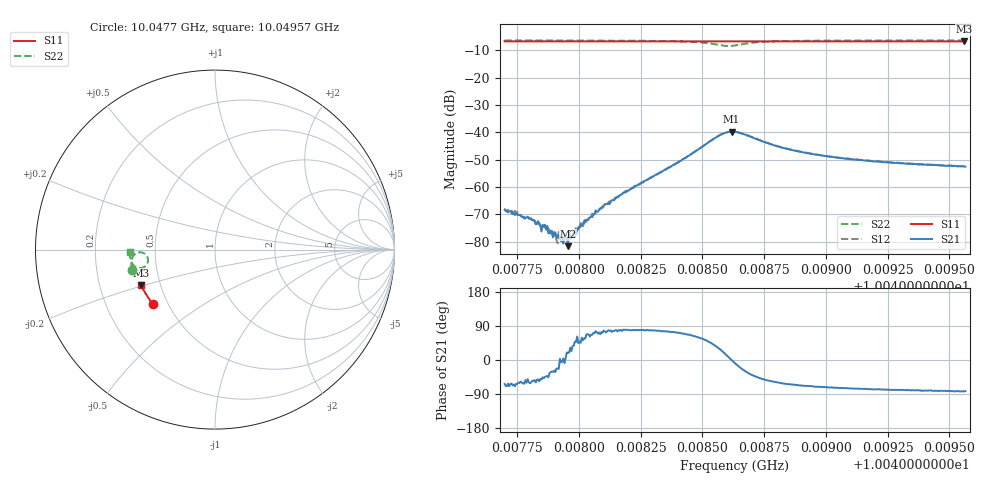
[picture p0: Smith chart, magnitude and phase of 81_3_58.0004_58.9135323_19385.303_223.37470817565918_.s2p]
#  HZ  S  RI  R  50.00
! Rohde & Schwarz Vector Network Analyzer
! Rohde-Schwarz,ZNB20-2Port,1311601062101988,3.16
! Created: UTC 3/21/2024, 12:53:55 AM
! freq[Hz]  re:S11  im:S11  re:S21  im:S21  re:S12  im:S12  re:S22  im:S22
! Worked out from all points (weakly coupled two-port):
!   401 points, 10.0477 GHz to 10.04957 GHz, reference 50 ohm
!   highest |S21| = -39.80 dB at 10.04862 GHz (marker M1); lowest = -81.7 dB at 10.04796 GHz (marker M2)
!   lowest |S11| = -6.8 dB at 10.04956 GHz (marker M3), VSWR 2.68, Z = 19.5 - j9.71 ohm
!   |S11| at or under -10 dB: nowhere
!   |S22| runs from -8.5 to -6.4 dB; largest |S21 - S12| = 0.0007
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1.0047699e10  -0.3472 -0.3015  0.000172 -0.00034  0.000178 -0.000359  -0.4626 -0.1127
1.0047806e10  -0.3516 -0.296  0.000136 -0.000228  0.000145 -0.000221  -0.4638 -0.1045
1.0047839e10  -0.353 -0.2942  0.000122 -0.000183  0.000149 -0.000144  -0.4642 -0.1019
1.0047862e10  -0.3539 -0.293  0.000144 -0.000143  0.00014 -0.000115  -0.4645 -0.1
1.0047885e10  -0.3549 -0.2916  0.000136 -8.46e-05  0.000106 -9.21e-05  -0.4649 -0.0981
1.0047904e10  -0.3557 -0.2908  0.000124 -7.71e-05  0.000129 -2.94e-05  -0.465 -0.0967
1.0047927e10  -0.3566 -0.2895  0.000123 -1.24e-05  9.11e-05 -3.47e-05  -0.4653 -0.0947
1.0047937e10  -0.3569 -0.2889  9.17e-05 6.71e-06  0.000102 1.59e-05  -0.4655 -0.0939
1.0047955e10  -0.3577 -0.2881  7.81e-05 2.61e-05  8.77e-05 7.11e-05  -0.4657 -0.0922
1.0047965e10  -0.3581 -0.2874  9.96e-05 6.31e-05  9.02e-05 8.12e-05  -0.4657 -0.0916
1.0047979e10  -0.3588 -0.2867  0.000117 9.11e-05  0.000105 9.34e-05  -0.4658 -0.0903
1.0048011e10  -0.3601 -0.285  0.000105 0.000175  0.000115 0.000167  -0.466 -0.0876
1.0048109e10  -0.3639 -0.2798  0.000142 0.000455  9.93e-05 0.000477  -0.4666 -0.0784
1.0048324e10  -0.3721 -0.2681  0.000404 0.00174  0.000344 0.00176  -0.4638 -0.0527
1.0048562e10  -0.3801 -0.2544  0.00705 0.00457  0.00678 0.00498  -0.3969 -0.0199
1.0048618e10  -0.3817 -0.2516  0.0102 -5.12e-05  0.0102 0.000644  -0.3736 -0.0652
1.0048632e10  -0.3821 -0.251  0.01 -0.00153  0.0102 -0.000862  -0.3775 -0.0785
1.0048814e10  -0.3889 -0.2413  0.00264 -0.00467  0.00295 -0.00454  -0.4549 -0.0867
1.0048945e10  -0.3934 -0.2336  0.00143 -0.00372  0.00164 -0.00368  -0.4663 -0.0672
1.0049257e10  -0.4031 -0.2153  0.000539 -0.00274  0.000713 -0.00271  -0.4733 -0.0357
1.0049561e10  -0.4117 -0.1972  0.000287 -0.00234  0.000427 -0.00233  -0.475 -0.0118
1.0049565e10  -0.412 -0.1969  0.000317 -0.00234  0.000395 -0.00234  -0.4749 -0.0115
